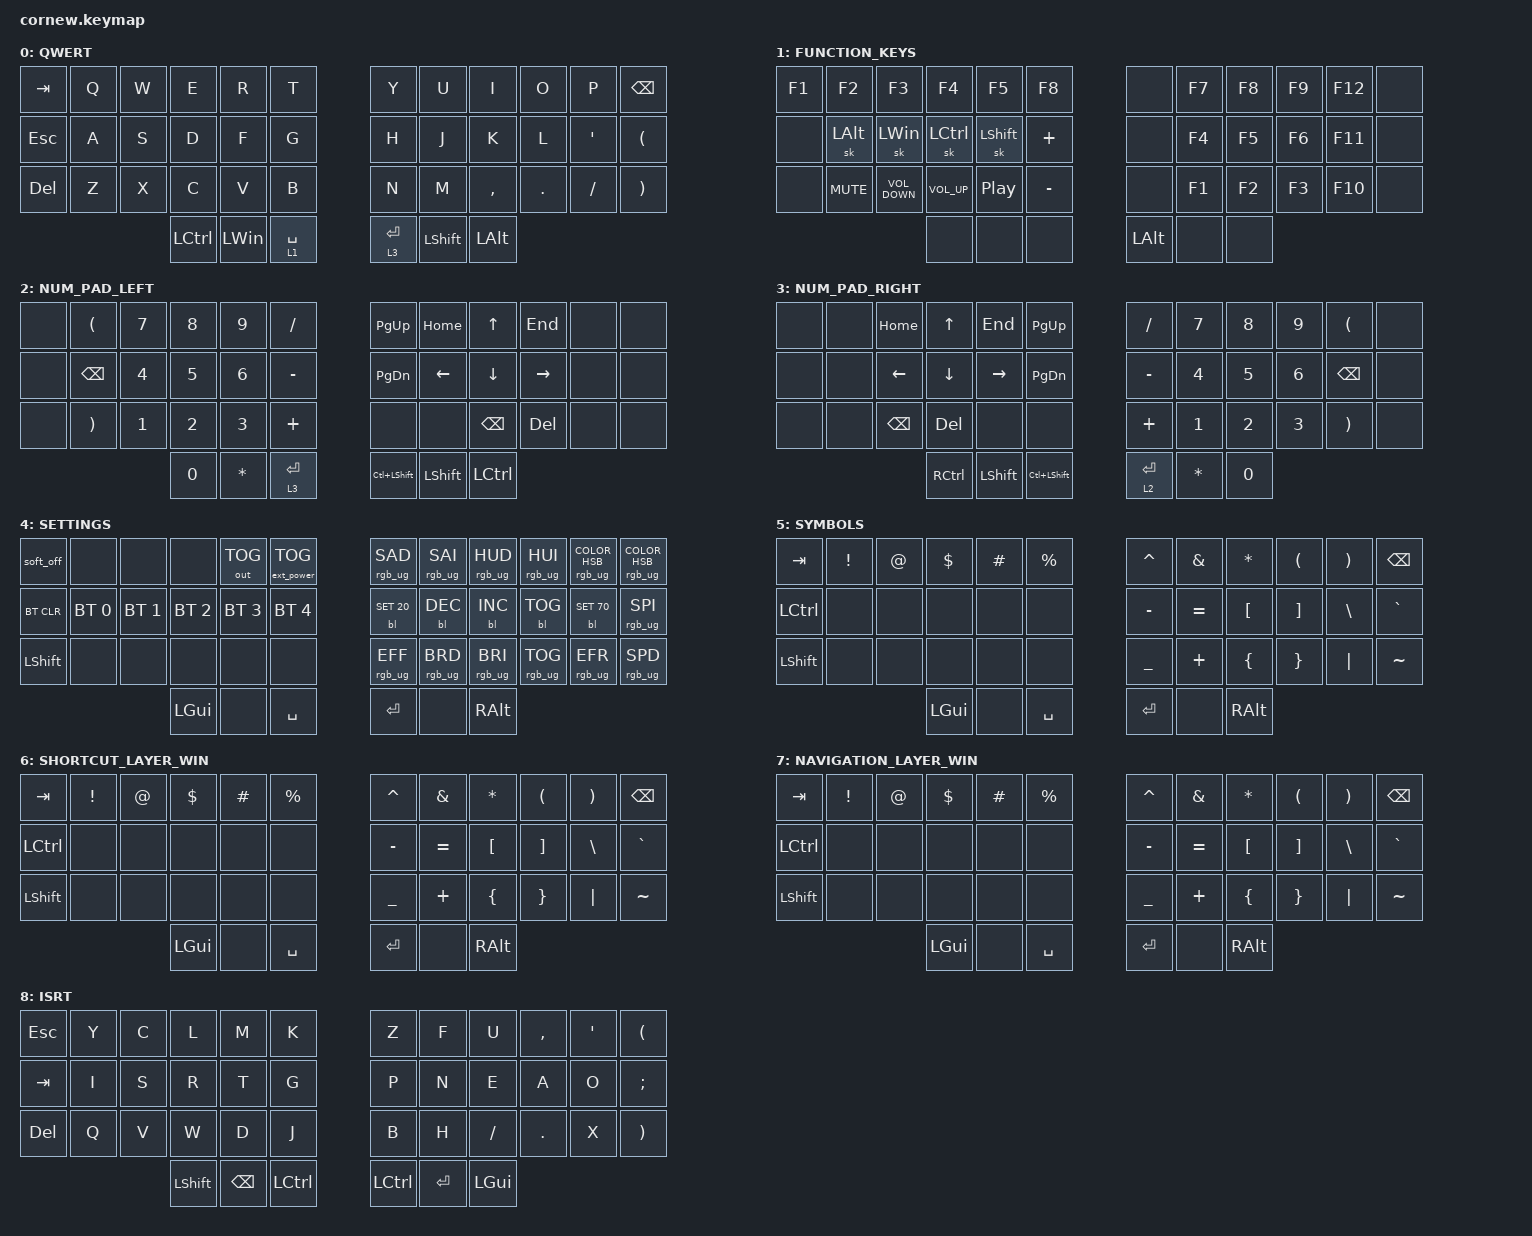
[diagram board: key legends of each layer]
/*
 * Copyright (c) 2020 The ZMK Contributors
 *
 * SPDX-License-Identifier: MIT
 */

#include <behaviors.dtsi>
#include <dt-bindings/zmk/backlight.h>
#include <dt-bindings/zmk/bt.h>
#include <dt-bindings/zmk/ext_power.h>
#include <dt-bindings/zmk/keys.h>
#include <dt-bindings/zmk/outputs.h>
#include <dt-bindings/zmk/rgb.h>
#include <dt-bindings/zmk/matrix_transform.h>



/ {
    backlight: pwmleds {
        compatible = "pwm-leds";
        pwm_led_0 {
            pwms = <&pwm0 0 PWM_MSEC(10) PWM_POLARITY_NORMAL>;
        };
    };

    chosen {
        zmk,kscan = &kscan0;
        zmk,backlight = &backlight;
        zephyr,display = &oled;
        zmk,matrix-transform = &default_transform;
    };

    default_transform: keymap_transform_0 {
        compatible = "zmk,matrix-transform";
        columns = <12>;
        rows = <4>;
// | SW1  | SW2  | SW3  | SW4  | SW5  | SW6  |   | SW6  | SW5  | SW4  | SW3  | SW2  | SW1  |
// | SW7  | SW8  | SW9  | SW10 | SW11 | SW12 |   | SW12 | SW11 | SW10 | SW9  | SW8  | SW7  |
// | SW13 | SW14 | SW15 | SW16 | SW17 | SW18 |   | SW18 | SW17 | SW16 | SW15 | SW14 | SW13 |
//                      | SW19 | SW20 | SW21 |   | SW21 | SW20 | SW19 |
        map = <
RC(0,0) RC(0,1) RC(0,2) RC(0,3) RC(0,4) RC(0,5)  RC(0,6) RC(0,7) RC(0,8) RC(0,9) RC(0,10) RC(0,11)
RC(1,0) RC(1,1) RC(1,2) RC(1,3) RC(1,4) RC(1,5)  RC(1,6) RC(1,7) RC(1,8) RC(1,9) RC(1,10) RC(1,11)
RC(2,0) RC(2,1) RC(2,2) RC(2,3) RC(2,4) RC(2,5)  RC(2,6) RC(2,7) RC(2,8) RC(2,9) RC(2,10) RC(2,11)
                        RC(3,3) RC(3,4) RC(3,5)  RC(3,6) RC(3,7) RC(3,8)
        >;
    };

    kscan0: kscan {
        compatible = "zmk,kscan-gpio-matrix";
    };

    combos {
        compatible = "zmk,combos";

        combo_semicolon {
            bindings = <&kp SEMICOLON>;
            key-positions = <33 34>;
            layers = <0>;
        };

        combo_caps_lock {
            bindings = <&kp CAPSLOCK>;
            key-positions = <40 21>;
            layers = <0>;
        };

        combo_num_pad_right_layer {
            bindings = <&tog 2>;
            key-positions = <14 15 16>;
        };

        combo_num_pad_left_layer {
            bindings = <&tog 3>;
            key-positions = <19 20 21>;
        };

        combo_settings_layer {
            bindings = <&tog 4>;
            key-positions = <1 2 3 4>;
        };

        combo_symbols_layer {
            bindings = <&tog 5>;
            key-positions = <31 32 33>;
        };

        combo_shortcuts_layer {
            bindings = <&tog 6>;
            key-positions = <27 28 26>;
        };

        combo_num_pad_right_layer_Lhand {
            bindings = <&tog 3>;
            key-positions = <14 3 16>;
        };

        combo_num_pad_left_layer_Rhand {
            bindings = <&tog 2>;
            key-positions = <19 8 21>;
        };

        combo_default_layer {
            bindings = <&to 0>;
            key-positions = <38 39>;
        };

        combo_symbols_layer_sticky {
            bindings = <&sl 5>;
            key-positions = <31 33>;
        };

        combo_dot_left {
            bindings = <&kp PERIOD>;
            key-positions = <27 28>;
            layers = <2>;
        };

        combo_dot_right {
            bindings = <&kp PERIOD>;
            key-positions = <31 32>;
            layers = <3>;
        };

        combo_delete_num_pad_left {
            bindings = <&kp DELETE>;
            key-positions = <20 21>;
            layers = <2 0 8>;
        };

        combo_backspace_num_pad_left {
            bindings = <&kp BACKSPACE>;
            key-positions = <19 20>;
            layers = <2 0 8>;
        };

        combo_delete_num_pad_right {
            bindings = <&kp DELETE>;
            key-positions = <15 16>;
            layers = <3 0 8>;
        };

        combo_backspace_num_pad_right {
            bindings = <&kp BACKSPACE>;
            key-positions = <14 15>;
            layers = <3 0 8>;
        };

        combo_equal_left {
            bindings = <&kp EQUAL>;
            key-positions = <15 16>;
            layers = <2>;
        };

        combo_equal_right {
            bindings = <&kp EQUAL>;
            key-positions = <19 20>;
            layers = <3>;
        };

        combo_navigation_layer {
            bindings = <&sl 7>;
            key-positions = <14 16>;
        };

        combo_ISRT_layer {
            bindings = <&tog 8>;
            key-positions = <13 15 14 16 18 19 20 21>;
        };

        combo_left_arrow_Lhand {
            bindings = <&kp LEFT_ARROW>;
            key-positions = <26 27>;
            layers = <0 8>;
        };

        combo_right_arrow_Lhand {
            bindings = <&kp RIGHT>;
            key-positions = <27 28>;
            layers = <0 8>;
        };

        combo_up_arrow_Lhand {
            bindings = <&kp UP_ARROW>;
            key-positions = <3 4>;
            layers = <0 8>;
        };

        combo_down_arrow_Lhand {
            bindings = <&kp DOWN>;
            key-positions = <3 2>;
            layers = <0 8>;
        };

        combo_left_arrow_Rhand {
            bindings = <&kp LEFT_ARROW>;
            key-positions = <32 31>;
            layers = <0 8>;
        };

        combo_right_arrow_Rhand {
            bindings = <&kp RIGHT>;
            key-positions = <32 33>;
            layers = <0 8>;
        };

        combo_up_arrow_Rhand {
            bindings = <&kp UP_ARROW>;
            key-positions = <7 8>;
            layers = <0 8>;
        };

        combo_down_arrow_Rhand {
            bindings = <&kp DOWN>;
            key-positions = <8 9>;
            layers = <0 8>;
        };
    };

    keymap {
        compatible = "zmk,keymap";

        QWERT {
            // -----------------------------------------------------------------------------------------
            // |  TAB |  Q  |  W  |  E  |  R  |  T  |   |  Y  |  U   |  I  |  O  |  P  | BKSP |
            // | CTRL |  A  |  S  |  D  |  F  |  G  |   |  H  |  J   |  K  |  L  |  ;  |  '   |
            // | SHFT |  Z  |  X  |  C  |  V  |  B  |   |  N  |  M   |  ,  |  .  |  /  | ESC  |
            //                    | GUI | LWR | SPC |   | ENT | RSE  | ALT |

            bindings = <
&kp TAB     &kp Q  &kp W  &kp E             &kp R         &kp T          &kp Y        &kp U           &kp I         &kp O    &kp P     &kp BSPC
&kp ESCAPE  &kp A  &kp S  &kp D             &kp F         &kp G          &kp H        &kp J           &kp K         &kp L    &kp SQT   &kp LEFT_PARENTHESIS
&kp DELETE  &kp Z  &kp X  &kp C             &kp V         &kp B          &kp N        &kp M           &kp COMMA     &kp DOT  &kp FSLH  &kp RIGHT_PARENTHESIS
                          &kp LEFT_CONTROL  &kp LEFT_WIN  &lt 1 SPACE    &lt 3 ENTER  &kp LEFT_SHIFT  &kp LEFT_ALT
            >;
        };

        FUNCTION_KEYS {
            bindings = <
&kp F1  &kp F2        &kp F3             &kp F4            &kp F5            &kp F8       &none         &kp F7  &kp F8  &kp F9  &kp F12  &none
&none   &sk LEFT_ALT  &sk LEFT_WIN       &sk LEFT_CONTROL  &sk LEFT_SHIFT    &kp PLUS     &none         &kp F4  &kp F5  &kp F6  &kp F11  &none
&none   &kp C_MUTE    &kp C_VOLUME_DOWN  &kp C_VOLUME_UP   &kp C_PLAY_PAUSE  &kp MINUS    &none         &kp F1  &kp F2  &kp F3  &kp F10  &none
                                         &none             &none             &none        &kp LEFT_ALT  &none   &none
            >;
        };

        NUM_PAD_LEFT {
            bindings = <
&none  &kp LEFT_PARENTHESIS   &kp N7  &kp N8  &kp N9        &kp SLASH      &kp PAGE_UP         &kp HOME        &kp UP_ARROW      &kp END          &none  &none
&none  &kp BACKSPACE          &kp N4  &kp N5  &kp N6        &kp MINUS      &kp PAGE_DOWN       &kp LEFT_ARROW  &kp DOWN_ARROW    &kp RIGHT_ARROW  &none  &none
&none  &kp RIGHT_PARENTHESIS  &kp N1  &kp N2  &kp N3        &kp PLUS       &none               &none           &kp BACKSPACE     &kp DELETE       &none  &none
                                      &kp N0  &kp ASTERISK  &lt 3 ENTER    &kp LC(LEFT_SHIFT)  &kp LEFT_SHIFT  &kp LEFT_CONTROL
            >;
        };

        NUM_PAD_RIGHT {
            bindings = <
&none  &none  &kp HOME       &kp UP      &kp END         &kp PAGE_UP           &kp SLASH    &kp N7        &kp N8  &kp N9  &kp LEFT_PARENTHESIS   &none
&none  &none  &kp LEFT       &kp DOWN    &kp RIGHT       &kp PAGE_DOWN         &kp MINUS    &kp N4        &kp N5  &kp N6  &kp BACKSPACE          &none
&none  &none  &kp BACKSPACE  &kp DELETE  &none           &none                 &kp PLUS     &kp N1        &kp N2  &kp N3  &kp RIGHT_PARENTHESIS  &none
                             &kp RCTRL   &kp LEFT_SHIFT  &kp LC(LEFT_SHIFT)    &lt 2 ENTER  &kp ASTERISK  &kp N0
            >;
        };

        SETTINGS {
            // -----------------------------------------------------------------------------------------
            // |  TAB |  1  |  2  |  3  |  4  |  5  |   |  6  |  7  |  8  |  9  |  0  | BKSP |
            // | BTCLR| BT1 | BT2 | BT3 | BT4 | BT5 |   | LFT | DWN |  UP | RGT |     |      |
            // | SHFT |     |     |     |     |     |   |     |     |     |     |     |      |
            //                    | GUI |     | SPC |   | ENT |     | ALT |

            bindings = <
&soft_off   &none         &none         &none         &out OUT_TOG  &ext_power EP_TOG    &rgb_ug RGB_SAD  &rgb_ug RGB_SAI  &rgb_ug RGB_HUD  &rgb_ug RGB_HUI  &rgb_ug RGB_COLOR_HSB(0,0,100)  &rgb_ug RGB_COLOR_HSB(0,95,49)
&bt BT_CLR  &bt BT_SEL 0  &bt BT_SEL 1  &bt BT_SEL 2  &bt BT_SEL 3  &bt BT_SEL 4         &bl BL_SET 20    &bl BL_DEC       &bl BL_INC       &bl BL_TOG       &bl BL_SET 70                   &rgb_ug RGB_SPI
&kp LSHFT   &none         &none         &none         &none         &none                &rgb_ug RGB_EFF  &rgb_ug RGB_BRD  &rgb_ug RGB_BRI  &rgb_ug RGB_TOG  &rgb_ug RGB_EFR                 &rgb_ug RGB_SPD
                                        &kp LGUI      &none         &kp SPACE            &kp RET          &none            &kp RALT
            >;
        };

        SYMBOLS {
            // -----------------------------------------------------------------------------------------
            // |  TAB |  !  |  @  |  #  |  $  |  %  |   |  ^  |  &  |  *  |  (  |  )  | BKSP |
            // | CTRL |     |     |     |     |     |   |  -  |  =  |  [  |  ]  |  \  |  `   |
            // | SHFT |     |     |     |     |     |   |  _  |  +  |  {  |  }  | "|" |  ~   |
            //                    | GUI |     | SPC |   | ENT |     | ALT |

            bindings = <
&kp TAB    &kp EXCL  &kp AT  &kp DOLLAR  &kp POUND  &kp PRCNT    &kp CARET  &kp AMPS   &kp ASTRK  &kp LPAR  &kp RPAR  &kp BSPC
&kp LCTRL  &none     &none   &none       &none      &none        &kp MINUS  &kp EQUAL  &kp LBKT   &kp RBKT  &kp BSLH  &kp GRAVE
&kp LSHFT  &none     &none   &none       &none      &none        &kp UNDER  &kp PLUS   &kp LBRC   &kp RBRC  &kp PIPE  &kp TILDE
                             &kp LGUI    &none      &kp SPACE    &kp RET    &none      &kp RALT
            >;
        };

        SHORTCUT_LAYER_WIN {
            bindings = <
&kp TAB    &kp EXCL  &kp AT  &kp DOLLAR  &kp POUND  &kp PRCNT    &kp CARET  &kp AMPS   &kp ASTRK  &kp LPAR  &kp RPAR  &kp BSPC
&kp LCTRL  &none     &none   &none       &none      &none        &kp MINUS  &kp EQUAL  &kp LBKT   &kp RBKT  &kp BSLH  &kp GRAVE
&kp LSHFT  &none     &none   &none       &none      &none        &kp UNDER  &kp PLUS   &kp LBRC   &kp RBRC  &kp PIPE  &kp TILDE
                             &kp LGUI    &none      &kp SPACE    &kp RET    &none      &kp RALT
            >;
        };

        NAVIGATION_LAYER_WIN {
            bindings = <
&kp TAB    &kp EXCL  &kp AT  &kp DOLLAR  &kp POUND  &kp PRCNT    &kp CARET  &kp AMPS   &kp ASTRK  &kp LPAR  &kp RPAR  &kp BSPC
&kp LCTRL  &none     &none   &none       &none      &none        &kp MINUS  &kp EQUAL  &kp LBKT   &kp RBKT  &kp BSLH  &kp GRAVE
&kp LSHFT  &none     &none   &none       &none      &none        &kp UNDER  &kp PLUS   &kp LBRC   &kp RBRC  &kp PIPE  &kp TILDE
                             &kp LGUI    &none      &kp SPACE    &kp RET    &none      &kp RALT
            >;
        };

        ISRT {
            // -----------------------------------------------------------------------------------------
            // | ESC |  Y  |  C  |  L   |  M   |  K   |   |  Z   |  F  |  U  |  ,  |  '  |  [  |
            // | TAB |  I  |  S  |  R   |  T   |  G   |   |  P   |  N  |  E  |  A  |  O  |  ;  |
            // | DEL |  Q  |  V  |  W   |  D   |  J   |   |  B   |  H  |  /  |  .  |  X  |  ]  |
            //                   | SHFT | BKSP | CTRL |   | CTRL | ENT | GUI |

            bindings = <
&kp ESC     &kp Y  &kp C  &kp L      &kp M     &kp K        &kp Z      &kp F    &kp U     &kp COMMA  &kp SQT  &kp LEFT_PARENTHESIS
&kp TAB     &kp I  &kp S  &kp R      &kp T     &kp G        &kp P      &kp N    &kp E     &kp A      &kp O    &kp SEMI
&kp DELETE  &kp Q  &kp V  &kp W      &kp D     &kp J        &kp B      &kp H    &kp FSLH  &kp DOT    &kp X    &kp RIGHT_PARENTHESIS
                          &kp LSHFT  &kp BSPC  &kp LCTRL    &kp LCTRL  &kp RET  &kp LGUI
            >;
        };
    };
};

&pro_micro_i2c {
    status = "okay";

    oled: ssd1306@3c {
        compatible = "solomon,ssd1306fb";
        reg = <0x3c>;
        width = <128>;
        height = <32>;
        segment-offset = <0>;
        page-offset = <0>;
        display-offset = <0>;
        multiplex-ratio = <31>;
        segment-remap;
        com-invdir;
        com-sequential;
        inversion-on;
        prechargep = <0x22>;
    };
};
